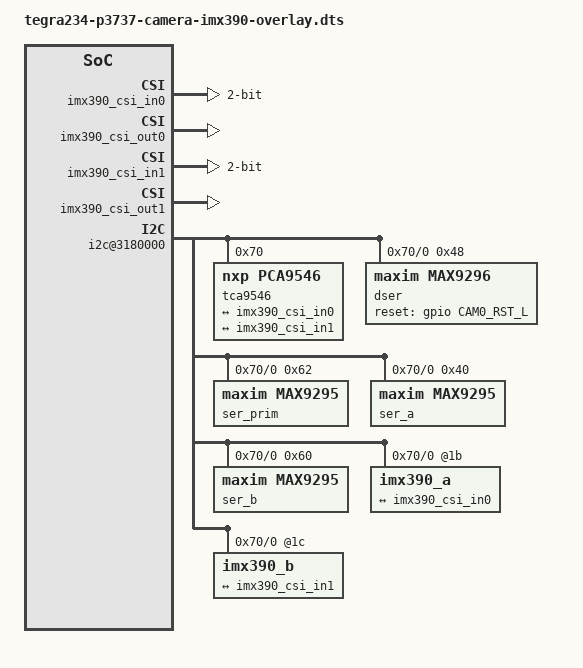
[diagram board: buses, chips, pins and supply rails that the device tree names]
// SPDX-License-Identifier: GPL-2.0-only
// Copyright (c) 2018-2023, NVIDIA CORPORATION & AFFILIATES. All rights reserved.

/dts-v1/;
/plugin/;

#include <dt-bindings/clock/tegra234-clock.h>
#include <dt-bindings/gpio/tegra234-gpio.h>
#include <dt-bindings/tegra234-p3737-0000+p3701-0000.h>

#define CAM0_RST_L	TEGRA234_MAIN_GPIO(H, 3)

/* camera control gpio definitions */
/ {
	overlay-name = "Jetson Camera IMX390";
	jetson-header-name = "Jetson AGX CSI Connector";
	compatible = JETSON_COMPATIBLE;

	fragment@0 {
		target-path = "/";

		__overlay__ {
			tegra-capture-vi {
				num-channels = <2>;
				ports {
					status = "okay";
					port@0 {
						status = "okay";
						imx390_vi_in0: endpoint {
							status = "okay";
							vc-id = <0>;
							port-index = <0>;
							bus-width = <2>;
							remote-endpoint = <&imx390_csi_out0>;
						};
					};
					port@1 {
						status = "okay";
						imx390_vi_in1: endpoint {
							status = "okay";
							vc-id = <1>;
							port-index = <0>;
							bus-width = <2>;
							remote-endpoint = <&imx390_csi_out1>;
						};
					};
				};
			};
			tegra-camera-platform {
				modules {
					status = "okay";
					module0 {
						badge = "imx390_rear";
						position = "rear";
						orientation = "1";
						status = "okay";
						drivernode0 {
							status = "okay";
							/* Declare PCL support driver (classically known as guid) */
							pcl_id = "v4l2_sensor";
							/* Declare the device-tree hierarchy to driver instance */
							sysfs-device-tree = "/sys/firmware/devicetree/base/bus@0/i2c@3180000/tca9546@70/i2c@0/imx390_a@1b";
						};
					};
					module1 {
						status = "okay";
						badge = "imx390_front";
						position = "front";
						orientation = "1";
						drivernode0 {
							status = "okay";
							/* Declare PCL support driver (classically known as guid)  */
							pcl_id = "v4l2_sensor";
							/* Declare the device-tree hierarchy to driver instance */
							sysfs-device-tree = "/sys/firmware/devicetree/base/bus@0/i2c@3180000/tca9546@70/i2c@0/imx390_b@1c";
						};
					};
				};
			};
			bus@0{
				host1x@13e00000 {
					nvcsi@15a00000 {
						num-channels = <2>;
						channel@0 {
							status = "okay";
							ports {
								status = "okay";
								port@0 {
									status = "okay";
									imx390_csi_in0: endpoint@0 {
										status = "okay";
										port-index = <0>;
										bus-width = <2>;
										remote-endpoint = <&imx390_imx390_out0>;
									};
								};
								port@1 {
									status = "okay";
									imx390_csi_out0: endpoint@1 {
										status = "okay";
										remote-endpoint = <&imx390_vi_in0>;
									};
								};
							};
						};
						channel@1 {
							status = "okay";
							ports {
								status = "okay";
								port@0 {
									status = "okay";
									imx390_csi_in1: endpoint@2 {
										status = "okay";
										port-index = <0>;
										bus-width = <2>;
										remote-endpoint = <&imx390_imx390_out1>;
									};
								};
								port@1 {
									status = "okay";
									imx390_csi_out1: endpoint@3 {
										status = "okay";
										remote-endpoint = <&imx390_vi_in1>;
									};
								};
							};
						};
					};
				};
				i2c@3180000 {
					tca9546@70 {
						status = "okay";
						compatible = "nxp,pca9546";
						reg = <0x70>;
						#address-cells = <1>;
						#size-cells = <0>;
						skip_mux_detect = "yes";
						i2c@0 {
							reg = <0>;
							i2c-mux,deselect-on-exit;
							#address-cells = <1>;
							#size-cells = <0>;
							status = "okay";
							dser: max9296@48 {
								status = "okay";
								compatible = "maxim,max9296";
								reg = <0x48>;
								csi-mode = "2x4";
								max-src = <2>;
								reset-gpios = <&gpio CAM0_RST_L GPIO_ACTIVE_HIGH>;
							};
							ser_prim: max9295_prim@62 {
								status = "okay";
								compatible = "maxim,max9295";
								reg = <0x62>;
								is-prim-ser;
							};
							ser_a: max9295_a@40 {
								status = "okay";
								compatible = "maxim,max9295";
								reg = <0x40>;
								nvidia,gmsl-dser-device = <&dser>;
							};
							ser_b: max9295_b@60 {
								status = "okay";
								compatible = "maxim,max9295";
								reg = <0x60>;
								nvidia,gmsl-dser-device = <&dser>;
							};
							imx390_a@1b {
								status = "okay";
								def-addr = <0x1a>;
								/* Define any required hw resources needed by driver */
								/* ie. clocks, io pins, power sources */
								clocks = <&bpmp TEGRA234_CLK_EXTPERIPH1>,
									<&bpmp TEGRA234_CLK_EXTPERIPH1>;
								clock-names = "extperiph1", "pllp_grtba";
								mclk = "extperiph1";
								nvidia,gmsl-ser-device = <&ser_a>;
								nvidia,gmsl-dser-device = <&dser>;
								ports {
									status = "okay";
									port@0 {
										status = "okay";
										imx390_imx390_out0: endpoint {
											status = "okay";
											vc-id = <0>;
											port-index = <0>;
											bus-width = <2>;
											remote-endpoint = <&imx390_csi_in0>;
										};
									};
								};
							};
							imx390_b@1c {
								status = "okay";
								def-addr = <0x1a>;
								/* Define any required hw resources needed by driver */
								/* ie. clocks, io pins, power sources */
								clocks = <&bpmp TEGRA234_CLK_EXTPERIPH1>,
									<&bpmp TEGRA234_CLK_EXTPERIPH1>;
								clock-names = "extperiph1", "pllp_grtba";
								mclk = "extperiph1";
								nvidia,gmsl-ser-device = <&ser_b>;
								nvidia,gmsl-dser-device = <&dser>;
								ports {
									status = "okay";
									port@0 {
										status = "okay";
										imx390_imx390_out1: endpoint {
											status = "okay";
											vc-id = <1>;
											port-index = <0>;
											bus-width = <2>;
											remote-endpoint = <&imx390_csi_in1>;
										};
									};
								};
							};
						};
					};
				};
			};
		};
	};
};
